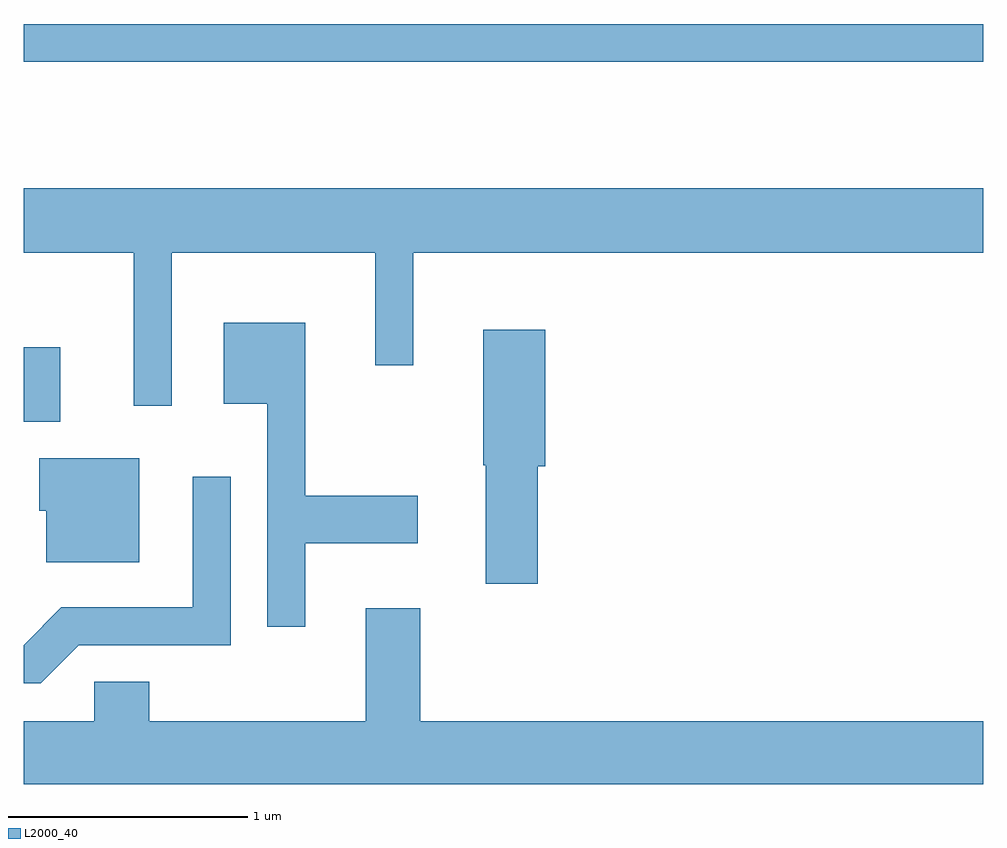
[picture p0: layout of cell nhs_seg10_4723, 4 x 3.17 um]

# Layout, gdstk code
import gdstk
lib = gdstk.Library(unit=1e-6, precision=1e-09)
def R(c, l, rs):  # rectangles x0, y0, x1, y1
    for r in rs: c.add(gdstk.rectangle(r[:2], r[2:], *l))
def P(c, l, *ps):  # polygons
    for p in ps: c.add(gdstk.Polygon(p, *l))
L2000_40 = (2000, 40)

nhs_seg10_4723 = lib.new_cell('nhs_seg10_4723')
R(nhs_seg10_4723, L2000_40, [(323.611,2182.031,323.764,2182.343), (323.611,2183.531,327.611,2183.689)])
P(nhs_seg10_4723, L2000_40, [(324.229,2182.736),(325.076,2182.736),(325.076,2182.268),(325.234,2182.268),(325.234,2182.736),(327.611,2182.736),(327.611,2183.004),(323.611,2183.004),(323.611,2182.736),(324.071,2182.736),(324.071,2182.098),(324.229,2182.098)],
  [(324.784,2181.526),(325.254,2181.526),(325.254,2181.724),(324.784,2181.724),(324.784,2182.444),(324.446,2182.444),(324.446,2182.106),(324.626,2182.106),(324.626,2181.178),(324.784,2181.178)],
  [(325.754,2181.846),(325.784,2181.846),(325.784,2182.414),(325.526,2182.414),(325.526,2181.85),(325.536,2181.85),(325.536,2181.356),(325.754,2181.356)],
  [(324.094,2181.879),(323.676,2181.879),(323.676,2181.661),(323.706,2181.661),(323.706,2181.446),(324.094,2181.446)],
  [(323.842,2181.101),(324.474,2181.101),(324.474,2181.803),(324.316,2181.803),(324.316,2181.259),(323.769,2181.259),(323.611,2181.101),(323.611,2180.941),(323.682,2180.941)],
  [(327.611,2180.784),(325.264,2180.784),(325.264,2181.254),(325.036,2181.254),(325.036,2180.784),(324.134,2180.784),(324.134,2180.949),(323.906,2180.949),(323.906,2180.784),(323.611,2180.784),(323.611,2180.522),(327.611,2180.522)])

lib.write_gds('nhs_seg10_4723.gds')
